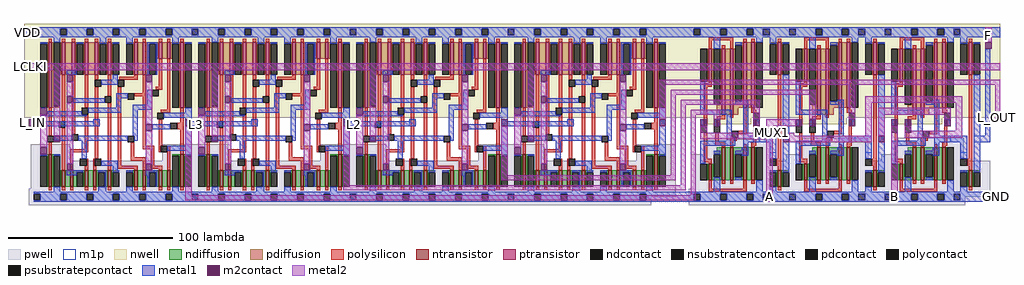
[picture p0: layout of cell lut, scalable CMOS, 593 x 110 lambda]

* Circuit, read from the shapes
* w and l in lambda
.subckt lut A B F GND INV1 L2 L3 LCLKI L_IN L_OUT MUX1 VDD
M1 GND LCLKI n1 GND nfet w=20 l=2
M2 n2 L_IN GND GND nfet w=10 l=2
M3 n3 n1 n2 GND nfet w=10 l=2
M4 n4 LCLKI n3 GND nfet w=10 l=2
M5 GND n5 n4 GND nfet w=10 l=2
M6 n5 n3 GND GND nfet w=10 l=2
M7 n6 n5 GND GND nfet w=10 l=2
M8 n7 LCLKI n6 GND nfet w=10 l=2
M9 n8 n1 n7 GND nfet w=10 l=2
M10 GND L3 n8 GND nfet w=10 l=2
M11 L3 n7 GND GND nfet w=20 l=2
M12 GND LCLKI n9 GND nfet w=20 l=2
M13 n10 L3 GND GND nfet w=10 l=2
M14 n11 n9 n10 GND nfet w=10 l=2
M15 n12 LCLKI n11 GND nfet w=10 l=2
M16 GND n13 n12 GND nfet w=10 l=2
M17 n13 n11 GND GND nfet w=10 l=2
M18 n14 n13 GND GND nfet w=10 l=2
M19 n15 LCLKI n14 GND nfet w=10 l=2
M20 n16 n9 n15 GND nfet w=10 l=2
M21 GND L2 n16 GND nfet w=10 l=2
M22 L2 n15 GND GND nfet w=20 l=2
M23 GND LCLKI n17 GND nfet w=20 l=2
M24 n18 L2 GND GND nfet w=10 l=2
M25 n19 n17 n18 GND nfet w=10 l=2
M26 n20 LCLKI n19 GND nfet w=10 l=2
M27 GND n21 n20 GND nfet w=10 l=2
M28 n21 n19 GND GND nfet w=10 l=2
M29 n22 n21 GND GND nfet w=10 l=2
M30 n23 LCLKI n22 GND nfet w=10 l=2
M31 n24 n17 n23 GND nfet w=10 l=2
M32 GND mux_4_to_1_0/mux_0(1)/MUX2X1_0/B n24 GND nfet w=10 l=2
M33 mux_4_to_1_0/mux_0(1)/MUX2X1_0/B n23 GND GND nfet w=20 l=2
M34 GND LCLKI n25 GND nfet w=20 l=2
M35 n26 mux_4_to_1_0/mux_0(1)/MUX2X1_0/B GND GND nfet w=10 l=2
M36 n27 n25 n26 GND nfet w=10 l=2
M37 n28 LCLKI n27 GND nfet w=10 l=2
M38 GND n29 n28 GND nfet w=10 l=2
M39 n29 n27 GND GND nfet w=10 l=2
M40 n30 n29 GND GND nfet w=10 l=2
M41 n31 LCLKI n30 GND nfet w=10 l=2
M42 n32 n25 n31 GND nfet w=10 l=2
M43 GND L_OUT n32 GND nfet w=10 l=2
M44 L_OUT n31 GND GND nfet w=20 l=2
M45 GND A n33 GND nfet w=10 l=2
M46 n34 L3 GND GND nfet w=20 l=2
M47 MUX1 n33 n34 GND nfet w=20 l=2
M48 n35 A MUX1 GND nfet w=20 l=2
M49 GND L2 n35 GND nfet w=20 l=2
M50 INV1 MUX1 GND GND nfet w=10 l=2
M51 GND A n36 GND nfet w=10 l=2
M52 n37 mux_4_to_1_0/mux_0(1)/MUX2X1_0/B GND GND nfet w=20 l=2
M53 mux_4_to_1_0/mux_0(1)/INVX1_0/A n36 n37 GND nfet w=20 l=2
M54 n38 A mux_4_to_1_0/mux_0(1)/INVX1_0/A GND nfet w=20 l=2
M55 GND L_OUT n38 GND nfet w=20 l=2
M56 mux_4_to_1_0/mux_0(2)/MUX2X1_0/A mux_4_to_1_0/mux_0(1)/INVX1_0/A GND GND nfet w=10 l=2
M57 GND B n39 GND nfet w=10 l=2
M58 n40 INV1 GND GND nfet w=20 l=2
M59 mux_4_to_1_0/mux_0(2)/INVX1_0/A n39 n40 GND nfet w=20 l=2
M60 n41 B mux_4_to_1_0/mux_0(2)/INVX1_0/A GND nfet w=20 l=2
M61 GND mux_4_to_1_0/mux_0(2)/MUX2X1_0/A n41 GND nfet w=20 l=2
M62 F mux_4_to_1_0/mux_0(2)/INVX1_0/A GND GND nfet w=10 l=2
M63 VDD LCLKI n1 VDD pfet w=40 l=2
M64 n42 L_IN VDD VDD pfet w=20 l=2
M65 n3 LCLKI n42 VDD pfet w=20 l=2
M66 n43 n1 n3 VDD pfet w=20 l=2
M67 VDD n5 n43 VDD pfet w=20 l=2
M68 n5 n3 VDD VDD pfet w=20 l=2
M69 n44 n5 VDD VDD pfet w=20 l=2
M70 n7 n1 n44 VDD pfet w=20 l=2
M71 n45 LCLKI n7 VDD pfet w=10 l=2
M72 VDD L3 n45 VDD pfet w=10 l=2
M73 L3 n7 VDD VDD pfet w=40 l=2
M74 VDD LCLKI n9 VDD pfet w=40 l=2
M75 n46 L3 VDD VDD pfet w=20 l=2
M76 n11 LCLKI n46 VDD pfet w=20 l=2
M77 n47 n9 n11 VDD pfet w=20 l=2
M78 VDD n13 n47 VDD pfet w=20 l=2
M79 n13 n11 VDD VDD pfet w=20 l=2
M80 n48 n13 VDD VDD pfet w=20 l=2
M81 n15 n9 n48 VDD pfet w=20 l=2
M82 n49 LCLKI n15 VDD pfet w=10 l=2
M83 VDD L2 n49 VDD pfet w=10 l=2
M84 L2 n15 VDD VDD pfet w=40 l=2
M85 VDD LCLKI n17 VDD pfet w=40 l=2
M86 n50 L2 VDD VDD pfet w=20 l=2
M87 n19 LCLKI n50 VDD pfet w=20 l=2
M88 n51 n17 n19 VDD pfet w=20 l=2
M89 VDD n21 n51 VDD pfet w=20 l=2
M90 n21 n19 VDD VDD pfet w=20 l=2
M91 n52 n21 VDD VDD pfet w=20 l=2
M92 n23 n17 n52 VDD pfet w=20 l=2
M93 n53 LCLKI n23 VDD pfet w=10 l=2
M94 VDD mux_4_to_1_0/mux_0(1)/MUX2X1_0/B n53 VDD pfet w=10 l=2
M95 mux_4_to_1_0/mux_0(1)/MUX2X1_0/B n23 VDD VDD pfet w=40 l=2
M96 VDD LCLKI n25 VDD pfet w=40 l=2
M97 n54 mux_4_to_1_0/mux_0(1)/MUX2X1_0/B VDD VDD pfet w=20 l=2
M98 n27 LCLKI n54 VDD pfet w=20 l=2
M99 n55 n25 n27 VDD pfet w=20 l=2
M100 VDD n29 n55 VDD pfet w=20 l=2
M101 n29 n27 VDD VDD pfet w=20 l=2
M102 n56 n29 VDD VDD pfet w=20 l=2
M103 n31 n25 n56 VDD pfet w=20 l=2
M104 n57 LCLKI n31 VDD pfet w=10 l=2
M105 VDD L_OUT n57 VDD pfet w=10 l=2
M106 L_OUT n31 VDD VDD pfet w=40 l=2
M107 VDD A n33 VDD pfet w=20 l=2
M108 n58 L3 VDD VDD pfet w=40 l=2
M109 MUX1 A n58 VDD pfet w=40 l=2
M110 n59 n33 MUX1 VDD pfet w=40 l=2
M111 VDD L2 n59 VDD pfet w=40 l=2
M112 INV1 MUX1 VDD VDD pfet w=20 l=2
M113 VDD A n36 VDD pfet w=20 l=2
M114 n60 mux_4_to_1_0/mux_0(1)/MUX2X1_0/B VDD VDD pfet w=40 l=2
M115 mux_4_to_1_0/mux_0(1)/INVX1_0/A A n60 VDD pfet w=40 l=2
M116 n61 n36 mux_4_to_1_0/mux_0(1)/INVX1_0/A VDD pfet w=40 l=2
M117 VDD L_OUT n61 VDD pfet w=40 l=2
M118 mux_4_to_1_0/mux_0(2)/MUX2X1_0/A mux_4_to_1_0/mux_0(1)/INVX1_0/A VDD VDD pfet w=20 l=2
M119 VDD B n39 VDD pfet w=20 l=2
M120 n62 INV1 VDD VDD pfet w=40 l=2
M121 mux_4_to_1_0/mux_0(2)/INVX1_0/A B n62 VDD pfet w=40 l=2
M122 n63 n39 mux_4_to_1_0/mux_0(2)/INVX1_0/A VDD pfet w=40 l=2
M123 VDD mux_4_to_1_0/mux_0(2)/MUX2X1_0/A n63 VDD pfet w=40 l=2
M124 F mux_4_to_1_0/mux_0(2)/INVX1_0/A VDD VDD pfet w=20 l=2
.ends

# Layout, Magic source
magic
tech scmos
<< nwell >>
rect 400 51 404 108
<< pwell >>
rect 93 -2 99 3
rect 189 -2 195 3
rect 285 -2 291 3
<< metal1 >>
rect 1 100 6 106
rect 394 100 407 106
rect 585 100 593 106
rect 7 46 25 49
rect 102 46 121 49
rect 198 46 217 49
rect 294 46 313 49
rect 454 39 457 44
rect 584 40 587 93
rect 581 36 587 40
rect 394 0 407 6
rect 585 0 593 6
<< m2contact >>
rect 584 93 588 97
rect 3 46 7 50
rect 98 46 102 50
rect 194 46 198 50
rect 290 46 294 50
rect 386 46 390 50
rect 18 36 22 40
rect 114 36 118 40
rect 210 36 214 40
rect 306 36 310 40
<< metal2 >>
rect 584 97 588 106
rect 3 80 593 84
rect 18 40 22 80
rect 98 4 102 46
rect 114 40 118 80
rect 194 10 198 46
rect 210 40 214 80
rect 290 16 294 46
rect 306 40 310 80
rect 386 71 411 74
rect 505 71 593 74
rect 386 50 390 71
rect 393 65 411 68
rect 393 16 396 65
rect 290 13 396 16
rect 399 59 411 62
rect 399 10 402 59
rect 194 7 402 10
rect 405 53 411 56
rect 405 4 408 53
rect 590 50 593 71
rect 465 38 468 42
rect 98 1 408 4
rect 451 0 455 6
rect 527 0 531 6
use DFFPOSX1  DFFPOSX1_0(0)
transform 1 0 8 0 1 3
box -8 -5 104 105
use DFFPOSX1  DFFPOSX1_0(1)
transform 1 0 104 0 1 3
box -8 -5 104 105
use DFFPOSX1  DFFPOSX1_0(2)
transform 1 0 200 0 1 3
box -8 -5 104 105
use DFFPOSX1  DFFPOSX1_0(3)
transform 1 0 296 0 1 3
box -8 -5 104 105
use mux_4_to_1  mux_4_to_1_0
transform 1 0 404 0 1 0
box 0 -2 189 108
<< labels >>
rlabel metal2 586 101 586 101 6 F
rlabel metal1 2 103 2 103 6 VDD
rlabel metal1 591 3 591 3 6 GND
rlabel metal2 529 3 529 3 6 B
rlabel metal2 453 3 453 3 6 A
rlabel metal2 4 82 4 82 6 LCLKI
rlabel metal2 591 51 591 51 6 L_OUT
rlabel metal1 105 47 105 47 6 L3
rlabel metal1 201 47 201 47 6 L2
rlabel metal1 455 42 455 42 6 MUX1
rlabel metal2 466 41 466 41 6 INV1
rlabel m2contact 5 48 5 48 6 L_IN
<< end >>

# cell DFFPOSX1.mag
magic
tech scmos
<< nwell >>
rect -8 48 104 105
<< pwell >>
rect -4 22 20 32
rect 76 22 100 32
rect -4 5 100 22
rect -5 0 100 5
rect -5 -5 85 0
<< ntransistor >>
rect 7 6 9 26
rect 15 6 17 16
rect 20 6 22 16
rect 29 6 31 16
rect 34 6 36 16
rect 43 6 45 16
rect 59 6 61 16
rect 64 6 66 16
rect 74 6 76 16
rect 79 6 81 16
rect 87 6 89 26
<< ptransistor >>
rect 7 54 9 94
rect 15 74 17 94
rect 21 74 23 94
rect 29 74 31 94
rect 35 74 37 94
rect 43 74 45 94
rect 59 74 61 94
rect 64 74 66 94
rect 74 84 76 94
rect 79 84 81 94
rect 87 54 89 94
<< ndiffusion >>
rect 2 25 7 26
rect 6 6 7 25
rect 9 25 14 26
rect 9 6 10 25
rect 82 25 87 26
rect 14 6 15 16
rect 17 6 20 16
rect 22 15 29 16
rect 22 6 24 15
rect 28 6 29 15
rect 31 6 34 16
rect 36 15 43 16
rect 36 6 37 15
rect 41 6 43 15
rect 45 15 50 16
rect 45 6 46 15
rect 54 15 59 16
rect 58 6 59 15
rect 61 6 64 16
rect 66 15 74 16
rect 66 6 68 15
rect 72 6 74 15
rect 76 6 79 16
rect 81 6 82 16
rect 86 6 87 25
rect 89 25 94 26
rect 89 6 90 25
<< pdiffusion >>
rect 2 93 7 94
rect 6 54 7 93
rect 9 55 10 94
rect 14 74 15 94
rect 17 74 21 94
rect 23 93 29 94
rect 23 74 24 93
rect 28 74 29 93
rect 31 74 35 94
rect 37 93 43 94
rect 37 74 38 93
rect 42 74 43 93
rect 45 93 50 94
rect 45 74 46 93
rect 54 93 59 94
rect 58 74 59 93
rect 61 74 64 94
rect 66 93 74 94
rect 66 74 68 93
rect 72 84 74 93
rect 76 84 79 94
rect 81 93 87 94
rect 81 84 82 93
rect 72 74 73 84
rect 9 54 14 55
rect 86 54 87 93
rect 89 93 94 94
rect 89 54 90 93
<< ndcontact >>
rect 2 6 6 25
rect 10 6 14 25
rect 24 6 28 15
rect 37 6 41 15
rect 46 6 50 15
rect 54 6 58 15
rect 68 6 72 15
rect 82 6 86 25
rect 90 6 94 25
<< pdcontact >>
rect 2 54 6 93
rect 10 55 14 94
rect 24 74 28 93
rect 38 74 42 93
rect 46 74 50 93
rect 54 74 58 93
rect 68 74 72 93
rect 82 54 86 93
rect 90 54 94 93
<< psubstratepcontact >>
rect -2 -2 2 2
rect 14 -2 18 2
rect 30 -2 34 2
rect 46 -2 50 2
rect 62 -2 66 2
rect 78 -2 82 2
<< nsubstratencontact >>
rect -2 98 2 102
rect 14 98 18 102
rect 30 98 34 102
rect 46 98 50 102
rect 62 98 66 102
rect 78 98 82 102
<< polysilicon >>
rect 7 94 9 96
rect 15 94 17 96
rect 21 94 23 96
rect 29 94 31 96
rect 35 94 37 96
rect 43 94 45 96
rect 59 94 61 96
rect 64 94 66 96
rect 74 94 76 96
rect 79 94 81 96
rect 87 94 89 96
rect 7 37 9 54
rect 15 46 17 74
rect 7 26 9 33
rect 15 16 17 42
rect 21 38 23 74
rect 29 54 31 74
rect 29 29 31 50
rect 20 27 31 29
rect 35 71 37 74
rect 20 16 22 27
rect 35 23 37 67
rect 43 61 45 74
rect 59 73 61 74
rect 50 71 61 73
rect 30 19 31 23
rect 29 16 31 19
rect 34 19 35 23
rect 34 16 36 19
rect 43 16 45 57
rect 49 19 51 67
rect 64 63 66 74
rect 74 67 76 84
rect 72 65 76 67
rect 59 61 66 63
rect 57 24 59 33
rect 64 31 66 61
rect 79 53 81 84
rect 75 51 81 53
rect 74 31 76 47
rect 87 45 89 54
rect 85 41 89 45
rect 64 29 71 31
rect 57 22 66 24
rect 49 17 61 19
rect 59 16 61 17
rect 64 16 66 22
rect 69 19 71 29
rect 74 27 75 31
rect 69 17 76 19
rect 74 16 76 17
rect 79 16 81 31
rect 87 26 89 41
rect 7 4 9 6
rect 15 4 17 6
rect 20 4 22 6
rect 29 4 31 6
rect 34 4 36 6
rect 43 4 45 6
rect 59 4 61 6
rect 64 4 66 6
rect 74 4 76 6
rect 79 4 81 6
rect 87 4 89 6
<< polycontact >>
rect 13 42 17 46
rect 6 33 10 37
rect 27 50 31 54
rect 21 34 25 38
rect 35 67 39 71
rect 41 57 45 61
rect 26 19 30 23
rect 35 19 39 23
rect 49 67 53 71
rect 55 59 59 63
rect 70 61 74 65
rect 55 33 59 37
rect 73 47 77 51
rect 81 41 85 45
rect 75 27 79 31
<< metal1 >>
rect -2 102 98 103
rect 2 98 14 102
rect 18 98 30 102
rect 34 98 46 102
rect 50 98 62 102
rect 66 98 78 102
rect 82 98 98 102
rect -2 97 98 98
rect 10 94 14 97
rect 2 93 6 94
rect 24 93 28 94
rect 18 74 24 77
rect 38 93 42 97
rect 46 93 50 94
rect 54 93 58 97
rect 67 93 73 94
rect 67 74 68 93
rect 72 74 73 93
rect 82 93 86 97
rect 46 71 49 74
rect 39 68 49 71
rect 22 57 41 60
rect 48 60 55 63
rect 48 54 51 60
rect 67 56 70 65
rect 6 50 27 52
rect 31 51 51 54
rect 58 53 70 56
rect 90 93 94 94
rect 2 49 30 50
rect 34 46 38 47
rect 17 43 38 46
rect 10 34 21 37
rect 58 37 61 53
rect 90 51 94 54
rect 77 48 94 51
rect 70 41 81 44
rect 25 34 55 37
rect 2 25 6 26
rect 10 25 14 26
rect 27 23 30 34
rect 59 34 61 37
rect 90 31 94 48
rect 79 28 94 31
rect 90 25 94 28
rect 39 19 49 22
rect 46 16 49 19
rect 18 15 28 16
rect 18 13 24 15
rect 37 15 42 16
rect 41 6 42 15
rect 46 15 50 16
rect 54 15 58 16
rect 66 15 73 16
rect 66 13 68 15
rect 67 6 68 13
rect 72 6 73 15
rect 10 3 14 6
rect 37 3 42 6
rect 54 3 58 6
rect 82 3 86 6
rect -2 2 98 3
rect 2 -2 14 2
rect 18 -2 30 2
rect 34 -2 46 2
rect 50 -2 62 2
rect 66 -2 78 2
rect 82 -2 98 2
rect -2 -3 98 -2
<< m2contact >>
rect 18 70 22 74
rect 66 70 70 74
rect 18 57 22 61
rect 2 50 6 54
rect 66 40 70 44
rect 2 26 6 30
rect 18 16 22 20
rect 66 16 70 20
<< metal2 >>
rect 18 61 22 70
rect 2 30 6 50
rect 18 20 22 57
rect 66 44 70 70
rect 66 20 70 40
<< m1p >>
rect 34 43 38 47
rect 90 43 94 47
rect 10 33 14 37
<< labels >>
rlabel metal1 4 100 4 100 6 vdd
rlabel m1p 36 45 36 45 6 D
rlabel metal1 4 0 4 0 8 gnd
rlabel m1p 92 45 92 45 6 Q
rlabel m1p 12 35 12 35 6 CLK
<< end >>

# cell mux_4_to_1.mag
magic
tech scmos
<< pwell >>
rect 52 -2 58 3
rect 110 -2 116 3
<< m2contact >>
rect 7 46 11 50
rect 15 46 19 50
rect 39 46 43 50
rect 65 46 69 50
rect 73 46 77 50
rect 97 46 101 50
rect 123 46 127 50
rect 131 46 135 50
rect 155 46 159 50
rect 57 36 61 40
rect 115 36 119 40
<< metal2 >>
rect 7 71 101 74
rect 7 65 77 68
rect 7 59 43 62
rect 7 53 19 56
rect 15 50 19 53
rect 39 50 43 59
rect 73 50 77 65
rect 47 46 65 50
rect 97 50 101 71
rect 107 60 166 64
rect 7 42 11 46
rect 47 42 51 46
rect 7 38 51 42
rect 107 40 111 60
rect 47 0 51 38
rect 61 36 111 40
rect 115 53 159 57
rect 115 40 119 53
rect 155 50 159 53
rect 123 0 127 46
rect 131 43 135 46
rect 162 43 166 60
rect 131 39 166 43
use mux  mux_0(0)
transform 1 0 2 0 1 0
box -2 -2 71 108
use mux  mux_0(1)
transform 1 0 60 0 1 0
box -2 -2 71 108
use mux  mux_0(2)
transform 1 0 118 0 1 0
box -2 -2 71 108
<< labels >>
rlabel metal2 49 3 49 3 6 A
rlabel metal2 125 3 125 3 6 B
<< end >>

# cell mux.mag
magic
tech scmos
<< metal1 >>
rect 37 36 51 40
rect 47 26 51 36
use MUX2X1  MUX2X1_0
transform 1 0 3 0 1 3
box -5 -5 53 105
use INVX1  INVX1_0
transform 1 0 45 0 1 3
box -9 -5 26 105
<< end >>

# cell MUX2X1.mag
magic
tech scmos
<< nwell >>
rect -5 48 53 105
rect 6 44 33 48
<< pwell >>
rect 6 34 46 36
rect 4 26 46 34
rect -4 5 46 26
rect -5 4 46 5
rect -5 -5 37 4
<< ntransistor >>
rect 7 10 9 20
rect 15 10 17 30
rect 20 10 22 30
rect 28 10 30 30
rect 33 10 35 30
<< ptransistor >>
rect 7 70 9 90
rect 15 50 17 90
rect 20 50 22 90
rect 28 54 30 94
rect 33 54 35 94
<< ndiffusion >>
rect 12 28 15 30
rect 10 26 15 28
rect 6 10 7 20
rect 9 12 10 20
rect 14 12 15 26
rect 9 10 15 12
rect 17 10 20 30
rect 22 26 28 30
rect 22 12 23 26
rect 27 12 28 26
rect 22 10 28 12
rect 30 10 33 30
rect 35 10 36 30
<< pdiffusion >>
rect 23 92 28 94
rect 6 70 7 90
rect 9 70 10 90
rect 14 56 15 90
rect 12 50 15 56
rect 17 50 20 90
rect 22 58 23 90
rect 27 58 28 92
rect 22 54 28 58
rect 30 54 33 94
rect 35 54 36 94
rect 22 50 25 54
<< ndcontact >>
rect 2 10 6 20
rect 10 12 14 26
rect 23 12 27 26
rect 36 10 40 30
<< pdcontact >>
rect 2 70 6 90
rect 10 56 14 90
rect 23 58 27 92
rect 36 54 40 94
<< psubstratepcontact >>
rect -2 -2 2 2
rect 14 -2 18 2
rect 30 -2 34 2
<< nsubstratencontact >>
rect -2 98 2 102
rect 14 98 18 102
rect 30 98 34 102
<< polysilicon >>
rect 7 95 22 97
rect 7 90 9 95
rect 15 90 17 92
rect 20 90 22 95
rect 28 94 30 96
rect 33 94 35 96
rect 7 69 9 70
rect 4 67 9 69
rect 4 43 6 67
rect 15 49 17 50
rect 12 47 17 49
rect 20 48 22 50
rect 12 43 14 47
rect 28 40 30 54
rect 33 53 35 54
rect 33 51 36 53
rect 4 23 6 39
rect 11 33 13 39
rect 25 38 30 40
rect 20 34 24 36
rect 11 31 17 33
rect 15 30 17 31
rect 20 30 22 34
rect 34 33 36 47
rect 28 30 30 32
rect 33 31 36 33
rect 33 30 35 31
rect 4 21 9 23
rect 7 20 9 21
rect 7 5 9 10
rect 15 8 17 10
rect 20 8 22 10
rect 28 5 30 10
rect 33 8 35 10
rect 7 3 30 5
<< polycontact >>
rect 2 39 6 43
rect 10 39 14 43
rect 21 36 25 40
rect 34 47 38 51
<< metal1 >>
rect -2 102 50 103
rect 2 98 14 102
rect 18 98 30 102
rect 34 98 50 102
rect -2 97 50 98
rect 10 90 14 97
rect 36 94 40 97
rect 2 53 5 70
rect 23 92 27 94
rect 27 58 31 59
rect 23 56 31 58
rect 2 50 21 53
rect 2 43 6 47
rect 10 43 14 47
rect 18 36 21 50
rect 28 37 31 56
rect 34 43 38 47
rect 18 34 23 36
rect 2 31 23 34
rect 28 33 38 37
rect 2 20 5 31
rect 28 30 31 33
rect 27 28 31 30
rect 10 26 14 28
rect 10 3 14 12
rect 23 26 31 28
rect 27 25 31 26
rect 23 10 27 12
rect 36 3 40 10
rect -2 2 50 3
rect 2 -2 14 2
rect 18 -2 30 2
rect 34 -2 50 2
rect -2 -3 50 -2
<< m1p >>
rect 2 43 6 47
rect 10 43 14 47
rect 34 43 38 47
rect 34 33 38 37
<< labels >>
rlabel metal1 4 45 4 45 6 S
rlabel metal1 4 100 4 100 6 vdd
rlabel metal1 4 0 4 0 8 gnd
rlabel metal1 36 35 36 35 6 Y
rlabel metal1 36 45 36 45 6 A
rlabel metal1 12 45 12 45 6 B
<< end >>

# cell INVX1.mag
magic
tech scmos
<< nwell >>
rect -9 48 26 105
<< pwell >>
rect -4 5 20 22
rect -5 0 20 5
rect -5 -5 5 0
<< ntransistor >>
rect 7 6 9 16
<< ptransistor >>
rect 7 74 9 94
<< ndiffusion >>
rect 2 15 7 16
rect 6 6 7 15
rect 9 15 14 16
rect 9 6 10 15
<< pdiffusion >>
rect 2 93 7 94
rect 6 74 7 93
rect 9 93 14 94
rect 9 74 10 93
<< ndcontact >>
rect 2 6 6 15
rect 10 6 14 15
<< pdcontact >>
rect 2 74 6 93
rect 10 74 14 93
<< psubstratepcontact >>
rect -2 -2 2 2
<< nsubstratencontact >>
rect -2 98 2 102
<< polysilicon >>
rect 7 94 9 96
rect 7 23 9 74
rect 6 19 9 23
rect 7 16 9 19
rect 7 4 9 6
<< polycontact >>
rect 2 19 6 23
<< metal1 >>
rect -2 102 18 103
rect 2 98 18 102
rect -2 97 18 98
rect 2 93 6 97
rect 10 93 14 94
rect 2 23 6 27
rect 2 15 6 16
rect 10 15 14 74
rect 2 3 6 6
rect -2 2 18 3
rect 2 -2 18 2
rect -2 -3 18 -2
<< m1p >>
rect 10 33 14 37
rect 2 23 6 27
<< labels >>
rlabel metal1 4 25 4 25 6 A
rlabel metal1 12 35 12 35 6 Y
rlabel metal1 4 100 4 100 6 vdd
rlabel metal1 4 0 4 0 8 gnd
<< end >>
